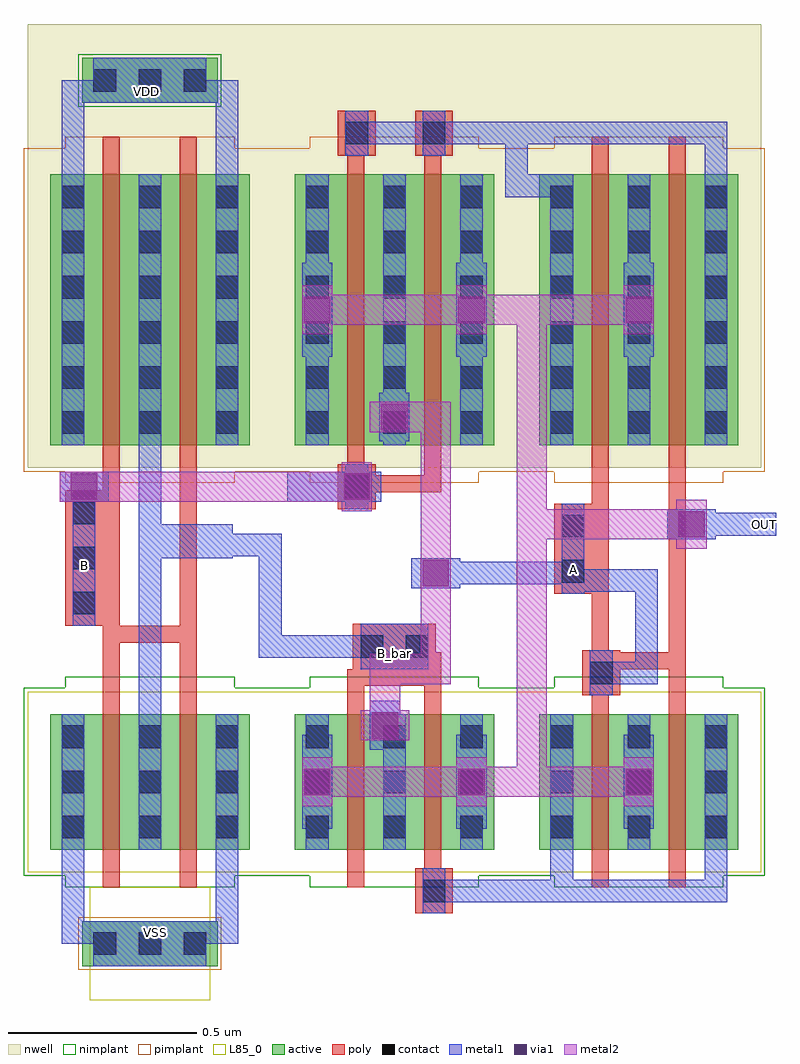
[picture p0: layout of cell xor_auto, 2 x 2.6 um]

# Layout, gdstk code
import gdstk
lib = gdstk.Library(unit=1e-6, precision=5e-10)
def R(c, l, rs):  # rectangles x0, y0, x1, y1
    for r in rs: c.add(gdstk.rectangle(r[:2], r[2:], *l))
def A(c, l, x, y, w, h, nx, ny, dx, dy):  # array of equal rectangles
    R(c, l, [(x+i*dx, y+j*dy, x+i*dx+w, y+j*dy+h) for i in range(nx) for j in range(ny)])
active = (1, 0)
nwell = (2, 0)
poly = (3, 0)
nimplant = (4, 0)
pimplant = (5, 0)
contact = (6, 0)
metal1 = (7, 0)
via1 = (8, 0)
metal2 = (9, 0)
L85_0 = (85, 0)

nmos1v_cdns_764862305970 = lib.new_cell('nmos1v_CDNS_764862305970')
R(nmos1v_cdns_764862305970, active, [(-0.14,0,0,0.36), (0,0,0.045,0.36), (0.045,0,0.205,0.36), (0.205,0,0.25,0.36), (0.25,0,0.39,0.36)])
R(nmos1v_cdns_764862305970, poly, [(0,-0.1,0.045,-0.05), (0.205,-0.1,0.25,-0.05), (0,-0.05,0.045,0), (0.205,-0.05,0.25,0), (0,0,0.045,0.36), (0.205,0,0.25,0.36), (0,0.36,0.045,0.41), (0.205,0.36,0.25,0.41), (0,0.41,0.045,0.46), (0.205,0.41,0.25,0.46)])
R(nmos1v_cdns_764862305970, nimplant, [(-0.1,-0.1,0.35,0.46), (-0.21,-0.07,0.46,0.43)])
A(nmos1v_cdns_764862305970, contact, -0.11, 0.03, 0.06, 0.06, 3, 3, 0.205, 0.12)
A(nmos1v_cdns_764862305970, metal1, -0.11, 0, 0.06, 0.36, 3, 1, 0.205, 0)
R(nmos1v_cdns_764862305970, L85_0, [(-0.2,-0.06,0.45,0.42)])
nmos1v_cdns_764862305970.add(gdstk.Label('S_source_2', (0.32,0.18), layer=1, texttype=0))
nmos1v_cdns_764862305970.add(gdstk.Label('S_source_0', (-0.07,0.18), layer=1, texttype=0))
nmos1v_cdns_764862305970.add(gdstk.Label('G_gate_2', (0.2275,-0.075), layer=3, texttype=0))
nmos1v_cdns_764862305970.add(gdstk.Label('G_gate_2', (0.2275,0.435), layer=3, texttype=0))
nmos1v_cdns_764862305970.add(gdstk.Label('G_gate_1', (0.0225,-0.075), layer=3, texttype=0))
nmos1v_cdns_764862305970.add(gdstk.Label('G_gate_1', (0.0225,0.435), layer=3, texttype=0))
nmos1v_cdns_764862305970.add(gdstk.Label('S_source_2', (0.33,0.18), layer=7, texttype=0))
nmos1v_cdns_764862305970.add(gdstk.Label('D_drain_1', (0.125,0.18), layer=7, texttype=0))
nmos1v_cdns_764862305970.add(gdstk.Label('S_source_0', (-0.08,0.18), layer=7, texttype=0))
nmos1v_cdns_764862305970.add(gdstk.Label('B', (0.125,0.18), layer=85, texttype=0))

pmos1v_cdns_764862305971 = lib.new_cell('pmos1v_CDNS_764862305971')
R(pmos1v_cdns_764862305971, active, [(-0.14,0,0,0.72), (0,0,0.045,0.72), (0.045,0,0.205,0.72), (0.205,0,0.25,0.72), (0.25,0,0.39,0.72)])
R(pmos1v_cdns_764862305971, nwell, [(-0.2,-0.06,0.45,0.78)])
R(pmos1v_cdns_764862305971, poly, [(0,-0.1,0.045,-0.05), (0.205,-0.1,0.25,-0.05), (0,-0.05,0.045,0), (0.205,-0.05,0.25,0), (0,0,0.045,0.72), (0.205,0,0.25,0.72), (0,0.72,0.045,0.77), (0.205,0.72,0.25,0.77), (0,0.77,0.045,0.82), (0.205,0.77,0.25,0.82)])
R(pmos1v_cdns_764862305971, pimplant, [(-0.1,-0.1,0.35,0.82), (-0.21,-0.07,0.46,0.79)])
A(pmos1v_cdns_764862305971, contact, -0.11, 0.03, 0.06, 0.06, 3, 6, 0.205, 0.12)
A(pmos1v_cdns_764862305971, metal1, -0.11, 0, 0.06, 0.72, 3, 1, 0.205, 0)
pmos1v_cdns_764862305971.add(gdstk.Label('S_source_2', (0.32,0.36), layer=1, texttype=0))
pmos1v_cdns_764862305971.add(gdstk.Label('S_source_0', (-0.07,0.36), layer=1, texttype=0))
pmos1v_cdns_764862305971.add(gdstk.Label('G_gate_2', (0.2275,-0.075), layer=3, texttype=0))
pmos1v_cdns_764862305971.add(gdstk.Label('G_gate_2', (0.2275,0.795), layer=3, texttype=0))
pmos1v_cdns_764862305971.add(gdstk.Label('G_gate_1', (0.0225,-0.075), layer=3, texttype=0))
pmos1v_cdns_764862305971.add(gdstk.Label('G_gate_1', (0.0225,0.795), layer=3, texttype=0))
pmos1v_cdns_764862305971.add(gdstk.Label('S_source_2', (0.33,0.36), layer=7, texttype=0))
pmos1v_cdns_764862305971.add(gdstk.Label('D_drain_1', (0.125,0.36), layer=7, texttype=0))
pmos1v_cdns_764862305971.add(gdstk.Label('S_source_0', (-0.08,0.36), layer=7, texttype=0))
pmos1v_cdns_764862305971.add(gdstk.Label('B', (0.125,0.36), layer=2, texttype=0))

m1_nwell_cdns_7648623059 = lib.new_cell('M1_NWELL_CDNS_764862305978')
R(m1_nwell_cdns_7648623059, active, [(-0.18,-0.06,0.18,0.06)])
R(m1_nwell_cdns_7648623059, nwell, [(-0.21,-0.15,0.21,0.15)])
R(m1_nwell_cdns_7648623059, nimplant, [(-0.19,-0.07,0.19,0.07)])
A(m1_nwell_cdns_7648623059, contact, -0.15, -0.03, 0.06, 0.06, 3, 1, 0.12, 0)
R(m1_nwell_cdns_7648623059, metal1, [(-0.15,-0.06,0.15,0.06)])

m1_po_cdns_764862305979 = lib.new_cell('M1_PO_CDNS_764862305979')
R(m1_po_cdns_764862305979, poly, [(-0.05,-0.18,0.05,0.18)])
A(m1_po_cdns_764862305979, contact, -0.03, -0.15, 0.06, 0.06, 1, 3, 0, 0.12)
R(m1_po_cdns_764862305979, metal1, [(-0.03,-0.18,0.03,0.18)])

m1_psub_cdns_76486230597 = lib.new_cell('M1_PSUB_CDNS_7648623059710')
R(m1_psub_cdns_76486230597, active, [(-0.18,-0.06,0.18,0.06)])
R(m1_psub_cdns_76486230597, pimplant, [(-0.19,-0.07,0.19,0.07)])
A(m1_psub_cdns_76486230597, contact, -0.15, -0.03, 0.06, 0.06, 3, 1, 0.12, 0)
R(m1_psub_cdns_76486230597, metal1, [(-0.15,-0.06,0.15,0.06)])
R(m1_psub_cdns_76486230597, L85_0, [(-0.16,-0.15,0.16,0.15)])

inv = lib.new_cell('inv')
R(inv, nwell, [(-0.23,1.095,0.42,1.435)])
R(inv, metal1, [(0.065,-1.04,0.125,-0.98), (-0.11,-0.03,-0.05,0.03), (0.255,0.015,0.315,0.075), (0.04,1.225,0.1,1.285)])
inv.add(gdstk.FlexPath([(0.3,1.255),(0.3,1.035)], 0.06, ends=(0.03, 0), simple_path=True, layer=7, datatype=0))  # metal1
inv.add(gdstk.FlexPath([(-0.11,1.255),(-0.11,1.035)], 0.06, ends=(0.03, 0), simple_path=True, layer=7, datatype=0))  # metal1
inv.add(gdstk.FlexPath([(-0.11,1.255),(0.3,1.255)], 0.06, ends="extended", simple_path=True, layer=7, datatype=0))  # metal1
inv.add(gdstk.FlexPath([(0.095,0.045),(0.285,0.045)], 0.06, ends="extended", simple_path=True, layer=7, datatype=0))  # metal1
inv.add(gdstk.FlexPath([(0.095,-0.73),(0.095,0.045)], 0.06, ends="extended", simple_path=True, layer=7, datatype=0))  # metal1
inv.add(gdstk.FlexPath([(0.285,0.075),(0.095,0.075)], 0.06, ends="extended", simple_path=True, layer=7, datatype=0))  # metal1
inv.add(gdstk.FlexPath([(0.285,0.045),(0.285,0.075)], 0.06, ends="extended", simple_path=True, layer=7, datatype=0))  # metal1
inv.add(gdstk.FlexPath([(0.095,0.075),(0.095,1.005)], 0.06, ends="extended", simple_path=True, layer=7, datatype=0))  # metal1
inv.add(gdstk.FlexPath([(0.3,-0.98),(-0.11,-0.98)], 0.06, ends="extended", simple_path=True, layer=7, datatype=0))  # metal1
inv.add(gdstk.FlexPath([(0.3,-0.76),(0.3,-0.98)], 0.06, ends=(0, 0.03), simple_path=True, layer=7, datatype=0))  # metal1
inv.add(gdstk.FlexPath([(-0.11,-0.76),(-0.11,-0.98)], 0.06, ends=(0, 0.03), simple_path=True, layer=7, datatype=0))  # metal1
inv.add(gdstk.FlexPath([(-0.0075,-0.1875),(-0.0075,-0.3)], 0.045, ends=(0.0225, 0), simple_path=True, layer=3, datatype=0))  # poly
inv.add(gdstk.FlexPath([(-0.0075,0.215),(-0.0075,-0.1875)], 0.045, ends=(0, 0.0225), simple_path=True, layer=3, datatype=0))  # poly
inv.add(gdstk.FlexPath([(0.1975,0.215),(0.1975,-0.1875)], 0.045, ends=(0, 0.0225), simple_path=True, layer=3, datatype=0))  # poly
inv.add(gdstk.FlexPath([(-0.0075,-0.1875),(0.1975,-0.1875)], 0.045, ends="extended", simple_path=True, layer=3, datatype=0))  # poly
inv.add(gdstk.FlexPath([(0.1975,-0.1875),(0.1975,-0.3)], 0.045, ends=(0.0225, 0), simple_path=True, layer=3, datatype=0))  # poly
inv.add(gdstk.Reference(pmos1v_cdns_764862305971, (-0.03,0.315)))
inv.add(gdstk.Reference(nmos1v_cdns_764862305970, (-0.03,-0.76)))
inv.add(gdstk.Reference(m1_nwell_cdns_7648623059, (0.095,1.285)))
inv.add(gdstk.Reference(m1_po_cdns_764862305979, (-0.08,0.015)))
inv.add(gdstk.Reference(m1_psub_cdns_76486230597, (0.095,-1.01)))
inv.add(gdstk.Label('OUT', (0.285,0.045), layer=7, texttype=0))
inv.add(gdstk.Label('VSS', (0.095,-1.01), layer=7, texttype=0))
inv.add(gdstk.Label('VDD', (0.07,1.255), layer=7, texttype=0))
inv.add(gdstk.Label('IN', (-0.08,0), layer=7, texttype=0))
inv.add(gdstk.Label('OUT', (0.285,0.045), layer=63, texttype=0))
inv.add(gdstk.Label('VSS', (0.095,-1.01), layer=63, texttype=0))
inv.add(gdstk.Label('VDD', (0.07,1.255), layer=63, texttype=0))
inv.add(gdstk.Label('IN', (-0.08,0), layer=63, texttype=0))

m1_po_cdns_764862305970 = lib.new_cell('M1_PO_CDNS_764862305970')
R(m1_po_cdns_764862305970, poly, [(-0.11,-0.06,0.11,0.06)])
R(m1_po_cdns_764862305970, contact, [(-0.09,-0.03,-0.03,0.03), (0.03,-0.03,0.09,0.03)])
R(m1_po_cdns_764862305970, metal1, [(-0.09,-0.06,0.09,0.06)])

m1_po_cdns_764862305971 = lib.new_cell('M1_PO_CDNS_764862305971')
R(m1_po_cdns_764862305971, poly, [(-0.05,-0.12,0.05,0.12)])
R(m1_po_cdns_764862305971, contact, [(-0.03,-0.09,0.03,-0.03), (-0.03,0.03,0.03,0.09)])
R(m1_po_cdns_764862305971, metal1, [(-0.03,-0.12,0.03,0.12)])

m1_po_cdns_764862305972 = lib.new_cell('M1_PO_CDNS_764862305972')
R(m1_po_cdns_764862305972, poly, [(-0.05,-0.06,0.05,0.06)])
R(m1_po_cdns_764862305972, contact, [(-0.03,-0.03,0.03,0.03)])
R(m1_po_cdns_764862305972, metal1, [(-0.03,-0.06,0.03,0.06)])

m2_m1_cdns_764862305973 = lib.new_cell('M2_M1_CDNS_764862305973')
R(m2_m1_cdns_764862305973, metal1, [(-0.065,-0.04,0.065,0.04)])
R(m2_m1_cdns_764862305973, via1, [(-0.035,-0.035,0.035,0.035)])
R(m2_m1_cdns_764862305973, metal2, [(-0.04,-0.065,0.04,0.065)])

m2_m1_cdns_764862305974 = lib.new_cell('M2_M1_CDNS_764862305974')
R(m2_m1_cdns_764862305974, metal1, [(-0.04,-0.065,0.04,0.065)])
R(m2_m1_cdns_764862305974, via1, [(-0.035,-0.035,0.035,0.035)])
R(m2_m1_cdns_764862305974, metal2, [(-0.065,-0.04,0.065,0.04)])

m2_m1_cdns_764862305975 = lib.new_cell('M2_M1_CDNS_764862305975')
R(m2_m1_cdns_764862305975, metal1, [(-0.04,-0.125,0.04,0.125)])
R(m2_m1_cdns_764862305975, via1, [(-0.035,-0.035,0.035,0.035)])
R(m2_m1_cdns_764862305975, metal2, [(-0.04,-0.065,0.04,0.065)])

m2_m1_cdns_764862305976 = lib.new_cell('M2_M1_CDNS_764862305976')
R(m2_m1_cdns_764862305976, metal1, [(-0.065,-0.04,0.065,0.04)])
R(m2_m1_cdns_764862305976, via1, [(-0.035,-0.035,0.035,0.035)])
R(m2_m1_cdns_764862305976, metal2, [(-0.065,-0.04,0.065,0.04)])

m2_m1_cdns_764862305977 = lib.new_cell('M2_M1_CDNS_764862305977')
R(m2_m1_cdns_764862305977, metal1, [(-0.185,-0.04,0.065,0.04)])
R(m2_m1_cdns_764862305977, via1, [(-0.035,-0.035,0.035,0.035)])
R(m2_m1_cdns_764862305977, metal2, [(-0.04,-0.065,0.04,0.065)])

xor_auto = lib.new_cell('xor_auto')
R(xor_auto, nwell, [(1.355,2.845,3.305,3.185)])
R(xor_auto, metal1, [(1.665,0.74,1.725,0.8), (2.3,1.48,2.36,1.54), (2.775,1.705,2.835,1.765), (1.475,1.715,1.535,1.775), (3.285,1.825,3.345,1.885), (1.64,2.975,1.7,3.035)])
xor_auto.add(gdstk.FlexPath([(2.4325,2.895),(2.435,2.895)], 0.045, ends="flush", simple_path=True, layer=3, datatype=0))  # poly
xor_auto.add(gdstk.FlexPath([(2.4325,2.835),(2.4325,2.895)], 0.045, ends=(0, 0.06), simple_path=True, layer=3, datatype=0))  # poly
xor_auto.add(gdstk.FlexPath([(2.2275,2.895),(2.23,2.895)], 0.045, ends="flush", simple_path=True, layer=3, datatype=0))  # poly
xor_auto.add(gdstk.FlexPath([(2.2275,2.835),(2.2275,2.895)], 0.045, ends=(0, 0.06), simple_path=True, layer=3, datatype=0))  # poly
xor_auto.add(gdstk.FlexPath([(2.2275,1.955),(2.23,1.955)], 0.045, ends=(0, 0.05), simple_path=True, layer=3, datatype=0))  # poly
xor_auto.add(gdstk.FlexPath([(2.2275,2.015),(2.2275,1.955)], 0.045, ends=(0, 0.06), simple_path=True, layer=3, datatype=0))  # poly
xor_auto.add(gdstk.FlexPath([(2.8775,1.46),(2.88,1.46)], 0.045, ends="flush", simple_path=True, layer=3, datatype=0))  # poly
xor_auto.add(gdstk.FlexPath([(2.8775,1.4),(2.8775,1.46)], 0.045, ends=(0, 0.06), simple_path=True, layer=3, datatype=0))  # poly
xor_auto.add(gdstk.FlexPath([(2.3275,1.4475),(2.3275,1.53)], 0.045, ends=(0.0225, 0), simple_path=True, layer=3, datatype=0))  # poly
xor_auto.add(gdstk.FlexPath([(2.2275,1.4475),(2.3275,1.4475)], 0.045, ends="extended", simple_path=True, layer=3, datatype=0))  # poly
xor_auto.add(gdstk.FlexPath([(2.2275,1.4225),(2.2275,1.4475)], 0.045, ends="extended", simple_path=True, layer=3, datatype=0))  # poly
xor_auto.add(gdstk.FlexPath([(2.4325,1.455),(2.435,1.455)], 0.045, ends="flush", simple_path=True, layer=3, datatype=0))  # poly
xor_auto.add(gdstk.FlexPath([(2.4325,1.4),(2.4325,1.455)], 0.045, ends=(0.005, 0.06), simple_path=True, layer=3, datatype=0))  # poly
xor_auto.add(gdstk.FlexPath([(2.4325,0.8775),(2.435,0.8775)], 0.045, ends=(0.0225, 0), simple_path=True, layer=3, datatype=0))  # poly
xor_auto.add(gdstk.FlexPath([(2.4325,0.94),(2.4325,0.8775)], 0.045, ends=(0, 0.0225), simple_path=True, layer=3, datatype=0))  # poly
xor_auto.add(gdstk.FlexPath([(2.23,1.9625),(2.455,1.9625)], 0.045, ends=(0.025, 0), simple_path=True, layer=3, datatype=0))  # poly
xor_auto.add(gdstk.FlexPath([(2.435,1.4475),(2.205,1.4475)], 0.045, ends=(0.02, 0), simple_path=True, layer=3, datatype=0))  # poly
xor_auto.add(gdstk.FlexPath([(3.0825,1.965),(3.0825,1.4925)], 0.045, ends=(0, 0.0225), simple_path=True, layer=3, datatype=0))  # poly
xor_auto.add(gdstk.FlexPath([(2.8775,1.4925),(3.0825,1.4925)], 0.045, ends="extended", simple_path=True, layer=3, datatype=0))  # poly
xor_auto.add(gdstk.FlexPath([(2.8775,1.4925),(2.8775,1.45)], 0.045, ends=(0.0225, 0), simple_path=True, layer=3, datatype=0))  # poly
xor_auto.add(gdstk.FlexPath([(3.0825,1.4925),(3.0825,1.45)], 0.045, ends=(0.0225, 0), simple_path=True, layer=3, datatype=0))  # poly
xor_auto.add(gdstk.FlexPath([(2.8775,1.965),(2.8775,1.4925)], 0.045, ends=(0, 0.0225), simple_path=True, layer=3, datatype=0))  # poly
xor_auto.add(gdstk.FlexPath([(2,1.8),(1.9,1.8)], 0.06, ends=(0.03, 0), simple_path=True, layer=7, datatype=0))  # metal1
xor_auto.add(gdstk.FlexPath([(2,1.53),(2,1.8)], 0.06, ends="extended", simple_path=True, layer=7, datatype=0))  # metal1
xor_auto.add(gdstk.FlexPath([(2.23,2.895),(2.435,2.895)], 0.06, ends="extended", simple_path=True, layer=7, datatype=0))  # metal1
xor_auto.add(gdstk.FlexPath([(3.185,2.895),(2.655,2.895)], 0.06, ends="extended", simple_path=True, layer=7, datatype=0))  # metal1
xor_auto.add(gdstk.FlexPath([(3.185,2.095),(3.185,2.895)], 0.06, ends="extended", simple_path=True, layer=7, datatype=0))  # metal1
xor_auto.add(gdstk.FlexPath([(2.655,2.755),(2.655,2.895)], 0.06, ends="extended", simple_path=True, layer=7, datatype=0))  # metal1
xor_auto.add(gdstk.FlexPath([(2.775,2.755),(2.655,2.755)], 0.06, ends="extended", simple_path=True, layer=7, datatype=0))  # metal1
xor_auto.add(gdstk.FlexPath([(2.775,2.065),(2.775,2.755)], 0.06, ends=(0, 0.03), simple_path=True, layer=7, datatype=0))  # metal1
xor_auto.add(gdstk.FlexPath([(1.505,1.745),(1.505,1.955)], 0.06, ends=(0.03, 0.04), simple_path=True, layer=7, datatype=0))  # metal1
xor_auto.add(gdstk.FlexPath([(2.655,2.895),(2.435,2.895)], 0.06, ends="extended", simple_path=True, layer=7, datatype=0))  # metal1
xor_auto.add(gdstk.FlexPath([(3.315,1.855),(3.12,1.855)], 0.06, ends=(0.03, 0.065), simple_path=True, layer=7, datatype=0))  # metal1
xor_auto.add(gdstk.FlexPath([(3,1.46),(2.88,1.46)], 0.06, ends="extended", simple_path=True, layer=7, datatype=0))  # metal1
xor_auto.add(gdstk.FlexPath([(3,1.705),(3,1.46)], 0.06, ends="extended", simple_path=True, layer=7, datatype=0))  # metal1
xor_auto.add(gdstk.FlexPath([(2.805,1.705),(3,1.705)], 0.06, ends="extended", simple_path=True, layer=7, datatype=0))  # metal1
xor_auto.add(gdstk.FlexPath([(2.805,1.765),(2.805,1.705)], 0.06, ends=(0, 0.03), simple_path=True, layer=7, datatype=0))  # metal1
xor_auto.add(gdstk.FlexPath([(2.805,1.725),(2.805,1.765)], 0.06, ends=(0.03, 0), simple_path=True, layer=7, datatype=0))  # metal1
xor_auto.add(gdstk.FlexPath([(2.44,1.725),(2.805,1.725)], 0.06, ends=(0.065, 0.03), simple_path=True, layer=7, datatype=0))  # metal1
xor_auto.add(gdstk.FlexPath([(2.775,0.88),(2.435,0.88)], 0.06, ends=(0.03, 0), simple_path=True, layer=7, datatype=0))  # metal1
xor_auto.add(gdstk.FlexPath([(3.185,1.32),(3.185,0.88)], 0.06, ends="extended", simple_path=True, layer=7, datatype=0))  # metal1
xor_auto.add(gdstk.FlexPath([(2.3275,1.53),(2,1.53)], 0.06, ends=(0, 0.03), simple_path=True, layer=7, datatype=0))  # metal1
xor_auto.add(gdstk.FlexPath([(2.775,0.99),(2.775,0.88)], 0.06, ends=(0, 0.03), simple_path=True, layer=7, datatype=0))  # metal1
xor_auto.add(gdstk.FlexPath([(3.185,0.88),(2.775,0.88)], 0.06, ends="extended", simple_path=True, layer=7, datatype=0))  # metal1
xor_auto.add(gdstk.FlexPath([(1.505,1.955),(2.23,1.955)], 0.08, ends=(0.065, 0.04), simple_path=True, layer=9, datatype=0))  # metal2
xor_auto.add(gdstk.FlexPath([(2.125,1.17),(2.535,1.17)], 0.08, ends="extended", simple_path=True, layer=9, datatype=0))  # metal2
xor_auto.add(gdstk.FlexPath([(2.695,2.425),(2.695,1.855)], 0.08, ends="extended", simple_path=True, layer=9, datatype=0))  # metal2
xor_auto.add(gdstk.FlexPath([(2.125,2.425),(2.535,2.425)], 0.08, ends="extended", simple_path=True, layer=9, datatype=0))  # metal2
xor_auto.add(gdstk.FlexPath([(2.98,1.17),(2.695,1.17)], 0.08, ends="extended", simple_path=True, layer=9, datatype=0))  # metal2
xor_auto.add(gdstk.FlexPath([(2.98,2.425),(2.695,2.425)], 0.08, ends="extended", simple_path=True, layer=9, datatype=0))  # metal2
xor_auto.add(gdstk.FlexPath([(3.12,1.855),(2.695,1.855)], 0.08, ends="extended", simple_path=True, layer=9, datatype=0))  # metal2
xor_auto.add(gdstk.FlexPath([(2.695,2.425),(2.535,2.425)], 0.08, ends="extended", simple_path=True, layer=9, datatype=0))  # metal2
xor_auto.add(gdstk.FlexPath([(2.695,1.17),(2.535,1.17)], 0.08, ends="extended", simple_path=True, layer=9, datatype=0))  # metal2
xor_auto.add(gdstk.FlexPath([(2.695,1.855),(2.695,1.17)], 0.08, ends="extended", simple_path=True, layer=9, datatype=0))  # metal2
xor_auto.add(gdstk.FlexPath([(2.44,1.47),(2.44,1.725)], 0.08, ends=(0.04, 0.065), simple_path=True, layer=9, datatype=0))  # metal2
xor_auto.add(gdstk.FlexPath([(2.305,1.47),(2.44,1.47)], 0.08, ends="extended", simple_path=True, layer=9, datatype=0))  # metal2
xor_auto.add(gdstk.FlexPath([(2.305,1.32),(2.305,1.47)], 0.08, ends="extended", simple_path=True, layer=9, datatype=0))  # metal2
xor_auto.add(gdstk.FlexPath([(2.44,2.14),(2.44,1.725)], 0.08, ends=(0.04, 0.065), simple_path=True, layer=9, datatype=0))  # metal2
xor_auto.add(gdstk.FlexPath([(2.33,2.14),(2.44,2.14)], 0.08, ends=(0.065, 0.04), simple_path=True, layer=9, datatype=0))  # metal2
xor_auto.add(gdstk.Reference(nmos1v_cdns_764862305970, (2.855,0.99)))
xor_auto.add(gdstk.Reference(nmos1v_cdns_764862305970, (2.205,0.99)))
xor_auto.add(gdstk.Reference(pmos1v_cdns_764862305971, (2.855,2.065)))
xor_auto.add(gdstk.Reference(pmos1v_cdns_764862305971, (2.205,2.065)))
xor_auto.add(gdstk.Reference(inv, (1.585,1.75)))
xor_auto.add(gdstk.Reference(m1_po_cdns_764862305970, (2.33,1.53)))
xor_auto.add(gdstk.Reference(m1_po_cdns_764862305971, (2.805,1.79)))
xor_auto.add(gdstk.Reference(m1_po_cdns_764862305972, (2.435,2.895)))
xor_auto.add(gdstk.Reference(m1_po_cdns_764862305972, (2.23,2.895)))
xor_auto.add(gdstk.Reference(m1_po_cdns_764862305972, (2.23,1.955)))
xor_auto.add(gdstk.Reference(m1_po_cdns_764862305972, (2.88,1.46)))
xor_auto.add(gdstk.Reference(m1_po_cdns_764862305972, (2.435,0.88)))
xor_auto.add(gdstk.Reference(m2_m1_cdns_764862305973, (3.12,1.855)))
xor_auto.add(gdstk.Reference(m2_m1_cdns_764862305973, (2.44,1.725)))
xor_auto.add(gdstk.Reference(m2_m1_cdns_764862305974, (2.305,1.32)))
xor_auto.add(gdstk.Reference(m2_m1_cdns_764862305974, (2.33,2.14)))
xor_auto.add(gdstk.Reference(m2_m1_cdns_764862305975, (2.535,1.17)))
xor_auto.add(gdstk.Reference(m2_m1_cdns_764862305975, (2.125,1.17)))
xor_auto.add(gdstk.Reference(m2_m1_cdns_764862305975, (2.535,2.425)))
xor_auto.add(gdstk.Reference(m2_m1_cdns_764862305975, (2.125,2.425)))
xor_auto.add(gdstk.Reference(m2_m1_cdns_764862305975, (2.98,1.17)))
xor_auto.add(gdstk.Reference(m2_m1_cdns_764862305975, (2.98,2.425)))
xor_auto.add(gdstk.Reference(m2_m1_cdns_764862305975, (2.535,2.425)))
xor_auto.add(gdstk.Reference(m2_m1_cdns_764862305975, (2.535,1.17)))
xor_auto.add(gdstk.Reference(m2_m1_cdns_764862305976, (1.505,1.955)))
xor_auto.add(gdstk.Reference(m2_m1_cdns_764862305977, (2.23,1.955)))
xor_auto.add(gdstk.Label('B_bar', (2.33,1.51), layer=7, texttype=0))
xor_auto.add(gdstk.Label('OUT', (3.315,1.855), layer=7, texttype=0))
xor_auto.add(gdstk.Label('B', (1.505,1.745), layer=7, texttype=0))
xor_auto.add(gdstk.Label('A', (2.805,1.735), layer=7, texttype=0))
xor_auto.add(gdstk.Label('VSS', (1.695,0.77), layer=7, texttype=0))
xor_auto.add(gdstk.Label('VDD', (1.67,3.005), layer=7, texttype=0))

lib.write_gds('xor_auto.gds')
